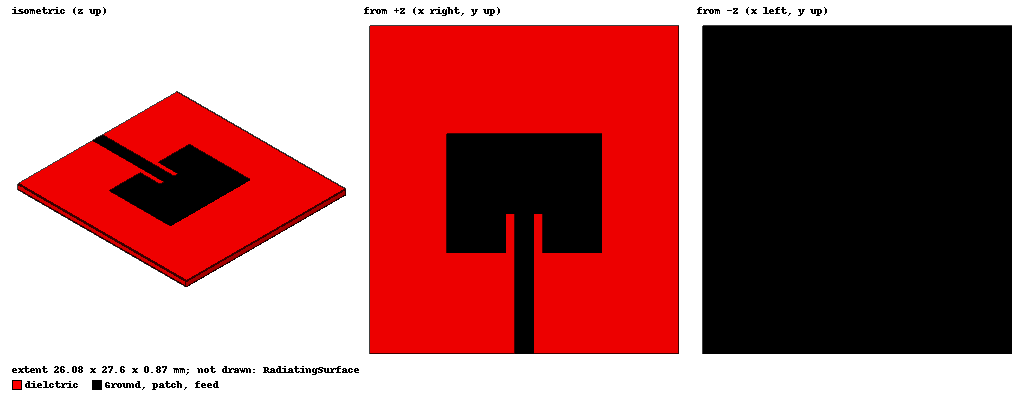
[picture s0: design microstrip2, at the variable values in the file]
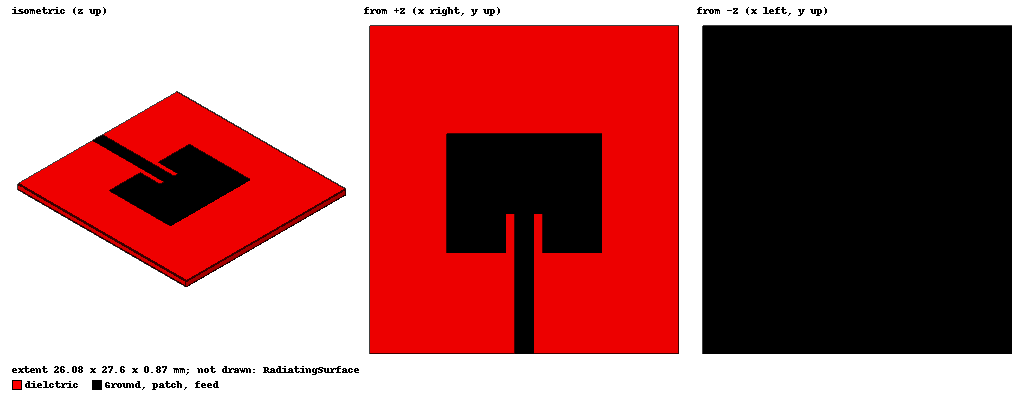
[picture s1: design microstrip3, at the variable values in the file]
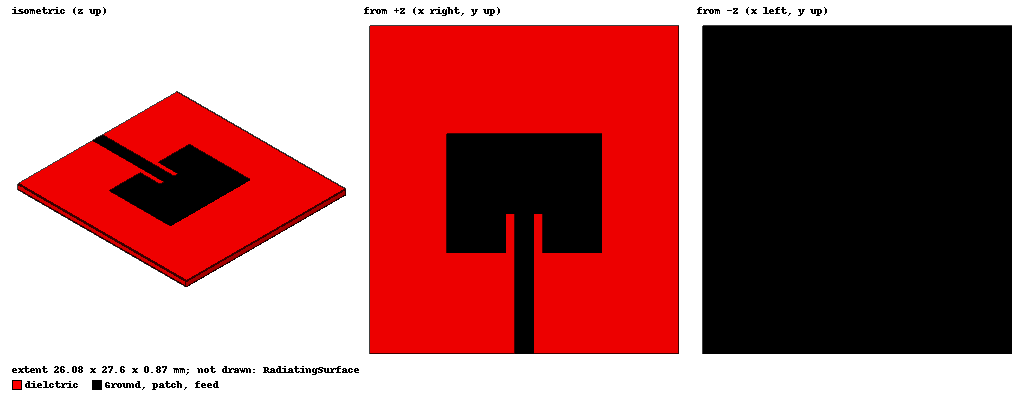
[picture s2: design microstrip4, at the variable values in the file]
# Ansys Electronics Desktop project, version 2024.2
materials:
  vacuum: permittivity=1
  copper: permeability=0.999991 conductivity=58000000
  FR4_epoxy: permittivity=4.4 dielectric_loss_tangent=0.02

design microstrip2 (HFSS, HFSS Modal Network, model units mm)
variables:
  T_diel = 0.8mm
  L = 9.99mm
  W = 13.04mm
  T = 0.035mm
  L_feed = 11.74mm
  W_feed = 1.53mm
  W_g = 2*W
  L_g = 1.5*L_feed+L
  T_g = T
  partial = 0.35
  L_offset = partial*L/2
  W_slot = 2*W_feed
  L_slot = L/2-L_offset
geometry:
  Ground [copper] = box(corner=(-W_g/2, 0mm, 0mm), size=(W_g, L_g, T_g))
  coordinate_system diel_bottom = origin=(0mm, 0mm, T_g) x=(1mm, 0mm, 0mm) y=(0mm, 1mm, 0mm)
  dielctric [FR4_epoxy] = box(corner=(-W_g/2, 0mm, 0mm), size=(W_g, L_g, T_diel)) in diel_bottom
  coordinate_system diel_top = origin=(0mm, 0mm, T_diel) x=(1mm, 0mm, 0mm) y=(0mm, 1mm, 0mm) in diel_bottom
  feed [copper] = box(corner=(-W_feed/2, 0mm, 0mm), size=(W_feed, L_feed, T)) in diel_top
  coordinate_system feed_point = origin=(0mm, L_feed, 0mm) x=(1mm, 0mm, 0mm) y=(0mm, 1mm, 0mm) in diel_top
  coordinate_system antenna_start = origin=(0, -L_slot, 0) x=(1mm, 0mm, 0mm) y=(0mm, 1mm, 0mm) in feed_point
  Box1 = box(corner=(-W_slot/2, 0mm, 0mm), size=(W_slot, L_slot, T)) in antenna_start
  patch [copper] = box(corner=(-W /2, 0, 0mm), size=(W, L, T)) in antenna_start
  patch.subtract(Box1)
  Rectangle1 = rectangle(corner=(-W_feed/2, 0mm, 0mm), z_size=T_g+T+T_diel, x_size=W_feed)
  RadiatingSurface [vacuum] = region(absolute_offset=16.666667mm on all sides) in antenna_start
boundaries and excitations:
  Open1: Radiation Objects=RadiatingSurface
  1: Lumped Port Objects=Rectangle1 LumpedPortType=Modal Modes{Mode1{IntLine{(0, 0, 0) -> (0, 0, 0.87)} CharImp=Zpi RenormImp=50ohm}} Impedance=50ohm
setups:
  Setup1: HfssDriven MultipleAdaptiveFreqsSetup{Low=4GHz High=8GHz} MaxDeltaS=0.02 MaximumPasses=12 MinimumPasses=1 MinimumConvergedPasses=1 PercentRefinement=30 BasisOrder=1 PortAccuracy=2 DrivenSolverType="Direct Solver"
    sweep Sweep: 4GHz to 8GHz, 401 points; Type=Interpolating InterpTolerance=0.5 InterpMaxSolns=250 InterpUsePortImped=false PassivityErrorTolerance=0.0001
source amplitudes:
  1:1: 1V 0deg
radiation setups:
  3D: Infinite Sphere Theta=0deg..180deg step 2deg Phi=-180deg..180deg step 2deg CoordSystem=antenna_start
  Elevation: Infinite Sphere Theta=-180deg..180deg step 1deg Phi=0deg..90deg step 90deg CoordSystem=antenna_start
  Azimuth: Infinite Sphere Theta=90deg..90deg step 0deg Phi=-180deg..180deg step 1deg CoordSystem=antenna_start
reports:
  S Parameter Plot 1: dB(S(1,1)) vs Freq on Setup1 : Sweep [L=all W=all L_feed=all]; markers m1 at 6.8GHz, m2 at 6.72GHz, m3 at 6.89GHz
  Gain Plot 1: dB(GainTotal) vs Theta on Setup1 : LastAdaptive, 3D [Phi=all Freq=6GHz L=all W=all L_feed=all]

design microstrip3 (HFSS, HFSS Hybrid Modal Network, model units mm)
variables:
  T_diel = 0.8mm
  L = 9.99mm
  W = 13.04mm
  T = 0.035mm
  L_feed = 11.74mm
  W_feed = 1.53mm
  W_g = 2*W
  L_g = 1.5*L_feed+L
  T_g = T
  partial = 0.35
  L_offset = partial*L/2
  W_slot = 2*W_feed
  L_slot = L/2-L_offset
  Theta_Scan = 0deg
  Phi_Scan = Phi
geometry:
  Ground [copper] = box(corner=(-W_g/2, 0mm, 0mm), size=(W_g, L_g, T_g))
  coordinate_system diel_bottom = origin=(0mm, 0mm, T_g) x=(1mm, 0mm, 0mm) y=(0mm, 1mm, 0mm)
  dielctric [FR4_epoxy] = box(corner=(-W_g/2, 0mm, 0mm), size=(W_g, L_g, T_diel)) in diel_bottom
  coordinate_system diel_top = origin=(0mm, 0mm, T_diel) x=(1mm, 0mm, 0mm) y=(0mm, 1mm, 0mm) in diel_bottom
  feed [copper] = box(corner=(-W_feed/2, 0mm, 0mm), size=(W_feed, L_feed, T)) in diel_top
  coordinate_system feed_point = origin=(0mm, L_feed, 0mm) x=(1mm, 0mm, 0mm) y=(0mm, 1mm, 0mm) in diel_top
  coordinate_system antenna_start = origin=(0, -L_slot, 0) x=(1mm, 0mm, 0mm) y=(0mm, 1mm, 0mm) in feed_point
  Box1 = box(corner=(-W_slot/2, 0mm, 0mm), size=(W_slot, L_slot, T)) in antenna_start
  patch [copper] = box(corner=(-W /2, 0, 0mm), size=(W, L, T)) in antenna_start
  patch.subtract(Box1)
  Rectangle1 = rectangle(corner=(-W_feed/2, 0mm, 0mm), z_size=T_g+T+T_diel, x_size=W_feed)
  RadiatingSurface [vacuum] = region(absolute_offset: +X=0mm, -X=0mm, +Y=0mm, -Y=0mm, +Z=16.666667mm, -Z=16.666667mm) in antenna_start
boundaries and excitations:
  LatticePair1: Lattice Pair Faces=RadiatingSurface.face(at (0, 0, 0.435), at (0, 27.6, 0.435)) CoordSysVector{(13.04, 0, -16.666667) -> (13.04, 0, 17.536667)} ReverseV PhaseDelay=UseScanAngle Phi=0 Theta=0
  LatticePair2: Lattice Pair Faces=RadiatingSurface.face(at (-13.04, 13.8, 0.435), at (13.04, 13.8, 0.435)) CoordSysVector{(-13.04, 0, -16.666667) -> (-13.04, 0, 17.536667)} ReverseV PhaseDelay=UseScanAngle Phi=0deg Theta=0deg
  Rad1: Radiation Faces=RadiatingSurface.face(at (0, 13.8, 17.5367), at (0, 13.8, -16.6667))
  1: Lumped Port Objects=Rectangle1 LumpedPortType=Modal Modes{Mode1{IntLine{(0, 0, 0) -> (0, 0, 0.87)} CharImp=Zpi RenormImp=50ohm}} Impedance=50ohm
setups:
  Setup1: HfssDriven Frequency=7GHz MaxDeltaS=0.02 MaximumPasses=6 MinimumPasses=1 MinimumConvergedPasses=1 PercentRefinement=30 BasisOrder=1 PortAccuracy=2 DrivenSolverType="Direct Solver"
    sweep Sweep: 3.5GHz to 10.5GHz, 401 points; Type=Interpolating InterpTolerance=0.5 InterpMaxSolns=250 InterpUsePortImped=false PassivityErrorTolerance=0.0001
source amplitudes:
  1:1: 1W 0deg
  1:2, 1:3, 1:4: 0W 0deg
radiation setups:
  Infinite Sphere1: Infinite Sphere Theta=-180deg..180deg step 2deg Phi=0deg..360deg step 2deg

design microstrip4 (HFSS, HFSS Modal Network, model units mm)
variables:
  T_diel = 0.8mm
  L = 9.99mm
  W = 13.04mm
  T = 0.035mm
  L_feed = 11.74mm
  W_feed = 1.53mm
  W_g = 2*W
  L_g = 1.5*L_feed+L
  T_g = T
  partial = 0.35
  L_offset = partial*L/2
  W_slot = 2*W_feed
  L_slot = L/2-L_offset
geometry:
  Ground [copper] = box(corner=(-W_g/2, 0mm, 0mm), size=(W_g, L_g, T_g))
  coordinate_system diel_bottom = origin=(0mm, 0mm, T_g) x=(1mm, 0mm, 0mm) y=(0mm, 1mm, 0mm)
  dielctric [FR4_epoxy] = box(corner=(-W_g/2, 0mm, 0mm), size=(W_g, L_g, T_diel)) in diel_bottom
  coordinate_system diel_top = origin=(0mm, 0mm, T_diel) x=(1mm, 0mm, 0mm) y=(0mm, 1mm, 0mm) in diel_bottom
  feed [copper] = box(corner=(-W_feed/2, 0mm, 0mm), size=(W_feed, L_feed, T)) in diel_top
  coordinate_system feed_point = origin=(0mm, L_feed, 0mm) x=(1mm, 0mm, 0mm) y=(0mm, 1mm, 0mm) in diel_top
  coordinate_system antenna_start = origin=(0, -L_slot, 0) x=(1mm, 0mm, 0mm) y=(0mm, 1mm, 0mm) in feed_point
  Box1 = box(corner=(-W_slot/2, 0mm, 0mm), size=(W_slot, L_slot, T)) in antenna_start
  patch [copper] = box(corner=(-W /2, 0, 0mm), size=(W, L, T)) in antenna_start
  patch.subtract(Box1)
  Rectangle1 = rectangle(corner=(-W_feed/2, 0mm, 0mm), z_size=T_g+T+T_diel, x_size=W_feed)
  RadiatingSurface [vacuum] = region(absolute_offset=14.285714mm on all sides) in antenna_start
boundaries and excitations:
  Open1: Radiation Objects=RadiatingSurface
  1: Lumped Port Objects=Rectangle1 LumpedPortType=Modal Modes{Mode1{IntLine{(0, 0, 0) -> (0, 0, 0.87)} CharImp=Zpi RenormImp=50ohm}} Impedance=50ohm
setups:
  Setup1: HfssDriven MultipleAdaptiveFreqsSetup{Low=4GHz High=8GHz} MaxDeltaS=0.02 MaximumPasses=12 MinimumPasses=1 MinimumConvergedPasses=1 PercentRefinement=30 BasisOrder=1 PortAccuracy=2 DrivenSolverType="Direct Solver"
    sweep Sweep: 4GHz to 8GHz, 401 points; Type=Interpolating InterpTolerance=0.5 InterpMaxSolns=250 InterpUsePortImped=false PassivityErrorTolerance=0.0001
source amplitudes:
  1:1: 1V 0deg
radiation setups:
  3D: Infinite Sphere Theta=0deg..180deg step 2deg Phi=-180deg..180deg step 2deg CoordSystem=antenna_start
  Elevation: Infinite Sphere Theta=-180deg..180deg step 1deg Phi=0deg..90deg step 90deg CoordSystem=antenna_start
  Azimuth: Infinite Sphere Theta=90deg..90deg step 0deg Phi=-180deg..180deg step 1deg CoordSystem=antenna_start
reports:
  S Parameter Plot 1: dB(S(1,1)) vs Freq on Setup1 : Sweep [L=all W=all L_feed=all]; markers m1 at 6.8GHz, m2 at 6.72GHz, m3 at 6.89GHz
